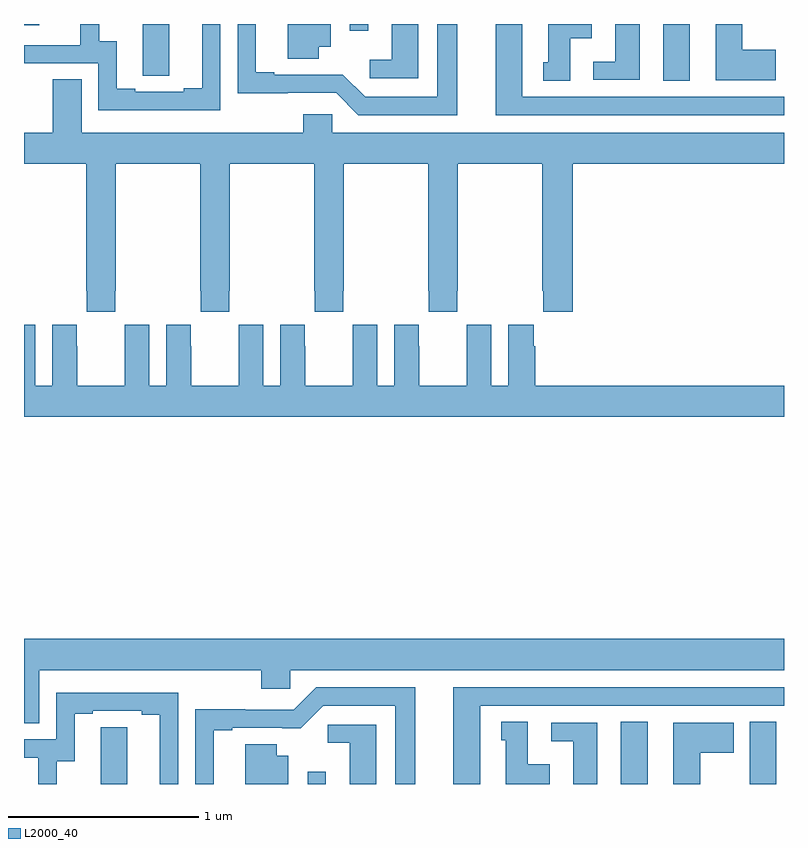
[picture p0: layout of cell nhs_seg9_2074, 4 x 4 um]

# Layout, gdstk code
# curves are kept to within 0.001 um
import gdstk
lib = gdstk.Library(unit=1e-6, precision=1e-09)
def R(c, l, rs):  # rectangles x0, y0, x1, y1
    for r in rs: c.add(gdstk.rectangle(r[:2], r[2:], *l))
def P(c, l, *ps):  # polygons
    for p in ps: c.add(gdstk.Polygon(p, *l))
L2000_40 = (2000, 40)

nhs_seg9_2074 = lib.new_cell('nhs_seg9_2074')
R(nhs_seg9_2074, L2000_40, [(230.493,1182.5,230.589,1182.565), (232.142,1182.5,232.282,1182.827), (232.364,1186.201,232.504,1186.5), (230.715,1186.464,230.811,1186.5), (229,1186.493,229.081,1186.5)])
P(nhs_seg9_2074, L2000_40, [(231.874,1186.424),(231.988,1186.424),(231.988,1186.5),(231.758,1186.5),(231.758,1186.299),(231.734,1186.299),(231.734,1186.201),(231.874,1186.201)],
  [(231.28,1186.5),(231.176,1186.5),(231.176,1186.116),(230.796,1186.116),(230.678,1186.234),(230.317,1186.233),(230.317,1186.246),(230.221,1186.246),(230.221,1186.5),(230.124,1186.5),(230.124,1186.136),(230.643,1186.137),(230.76,1186.02),(231.28,1186.02)],
  [(233,1186.116),(231.622,1186.116),(231.622,1186.5),(231.482,1186.5),(231.482,1186.02),(233,1186.02)],
  [(232.24,1186.5),(232.112,1186.5),(232.112,1186.302),(231.996,1186.302),(231.996,1186.206),(232.24,1186.206)],
  [(229.765,1186.5),(229.625,1186.5),(229.625,1186.336),(229.626,1186.336),(229.626,1186.228),(229.765,1186.228)],
  [(232.957,1186.365),(232.78,1186.365),(232.78,1186.5),(232.64,1186.5),(232.64,1186.205),(232.957,1186.205)],
  [(231.076,1186.5),(230.936,1186.5),(230.936,1186.312),(230.82,1186.312),(230.82,1186.215),(231.076,1186.215)],
  [(230.551,1186.379),(230.614,1186.379),(230.614,1186.5),(230.387,1186.5),(230.387,1186.318),(230.551,1186.318)],
  [(230.034,1186.5),(229.937,1186.5),(229.937,1186.163),(229.841,1186.163),(229.841,1186.143),(229.585,1186.143),(229.585,1186.158),(229.489,1186.158),(229.489,1186.409),(229.395,1186.409),(229.395,1186.5),(229.296,1186.5),(229.296,1186.39),(229.295,1186.39),(229.295,1186.389),(229,1186.389),(229,1186.293),(229.392,1186.293),(229.392,1186.047),(230.034,1186.047)],
  [(229.479,1185.097),(229.482,1185.097),(229.482,1185.764),(229.927,1185.764),(229.927,1185.097),(229.929,1185.097),(229.929,1184.985),(230.079,1184.985),(230.079,1185.097),(230.082,1185.097),(230.082,1185.764),(230.527,1185.764),(230.527,1185.097),(230.529,1185.097),(230.529,1184.985),(230.679,1184.985),(230.679,1185.097),(230.682,1185.097),(230.682,1185.764),(231.127,1185.764),(231.127,1185.097),(231.129,1185.097),(231.129,1184.985),(231.279,1184.985),(231.279,1185.097),(231.282,1185.097),(231.282,1185.764),(231.727,1185.764),(231.727,1185.097),(231.733,1185.097),(231.733,1184.985),(231.887,1184.985),(231.887,1185.764),(233,1185.764),(233,1185.928),(230.622,1185.928),(230.622,1186.026),(230.471,1186.026),(230.471,1185.928),(229.303,1185.928),(229.303,1186.208),(229.151,1186.208),(229.151,1185.928),(229,1185.928),(229,1185.764),(229.327,1185.764),(229.327,1185.097),(229.329,1185.097),(229.329,1184.985),(229.479,1184.985)],
  [(233,1184.596),(231.692,1184.596),(231.692,1184.804),(231.682,1184.804),(231.682,1184.917),(231.548,1184.917),(231.548,1184.596),(231.46,1184.596),(231.46,1184.917),(231.33,1184.917),(231.33,1184.804),(231.329,1184.804),(231.329,1184.596),(231.079,1184.596),(231.079,1184.804),(231.078,1184.804),(231.078,1184.917),(230.948,1184.917),(230.948,1184.596),(230.86,1184.596),(230.86,1184.917),(230.73,1184.917),(230.73,1184.804),(230.729,1184.804),(230.729,1184.596),(230.479,1184.596),(230.479,1184.804),(230.478,1184.804),(230.478,1184.917),(230.348,1184.917),(230.348,1184.596),(230.26,1184.596),(230.26,1184.917),(230.13,1184.917),(230.13,1184.804),(230.129,1184.804),(230.129,1184.596),(229.879,1184.596),(229.879,1184.804),(229.878,1184.804),(229.878,1184.917),(229.748,1184.917),(229.748,1184.596),(229.66,1184.596),(229.66,1184.917),(229.53,1184.917),(229.53,1184.804),(229.529,1184.804),(229.529,1184.596),(229.279,1184.596),(229.279,1184.804),(229.278,1184.804),(229.278,1184.917),(229.148,1184.917),(229.148,1184.596),(229.06,1184.596),(229.06,1184.917),(229,1184.917),(229,1184.432),(233,1184.432)],
  [(229.081,1183.1),(230.249,1183.1),(230.249,1183.002),(230.4,1183.002),(230.4,1183.1),(233,1183.1),(233,1183.264),(229,1183.264),(229,1182.82),(229.081,1182.82)],
  [(231.4,1182.912),(233,1182.912),(233,1183.008),(231.26,1183.008),(231.26,1182.5),(231.4,1182.5)],
  [(229.999,1182.783),(230.095,1182.783),(230.095,1182.795),(230.456,1182.794),(230.574,1182.912),(230.954,1182.912),(230.954,1182.5),(231.058,1182.5),(231.058,1183.008),(230.538,1183.008),(230.421,1182.891),(230.165,1182.891),(230.165,1182.893),(229.902,1182.893),(229.902,1182.5),(229.999,1182.5)],
  [(229.173,1182.619),(229.267,1182.619),(229.267,1182.87),(229.363,1182.87),(229.363,1182.885),(229.619,1182.885),(229.619,1182.865),(229.715,1182.865),(229.715,1182.5),(229.812,1182.5),(229.812,1182.981),(229.17,1182.981),(229.17,1182.735),(229,1182.735),(229,1182.639),(229.074,1182.639),(229.074,1182.5),(229.173,1182.5)],
  [(231.766,1182.604),(231.652,1182.604),(231.652,1182.827),(231.512,1182.827),(231.512,1182.729),(231.536,1182.729),(231.536,1182.5),(231.766,1182.5)],
  [(232.96,1182.716),(232.959,1182.716),(232.959,1182.827),(232.82,1182.827),(232.82,1182.5),(232.96,1182.5)],
  [(232.558,1182.664),(232.735,1182.664),(232.735,1182.823),(232.418,1182.823),(232.418,1182.5),(232.558,1182.5)],
  [(232.018,1182.822),(231.774,1182.822),(231.774,1182.726),(231.89,1182.726),(231.89,1182.5),(232.018,1182.5)],
  [(230.854,1182.813),(230.598,1182.813),(230.598,1182.716),(230.714,1182.716),(230.714,1182.5),(230.854,1182.5)],
  [(229.543,1182.8),(229.404,1182.8),(229.404,1182.692),(229.403,1182.692),(229.403,1182.5),(229.543,1182.5)],
  [(230.392,1182.649),(230.329,1182.649),(230.329,1182.71),(230.165,1182.71),(230.165,1182.5),(230.392,1182.5)])

lib.write_gds('nhs_seg9_2074.gds')
